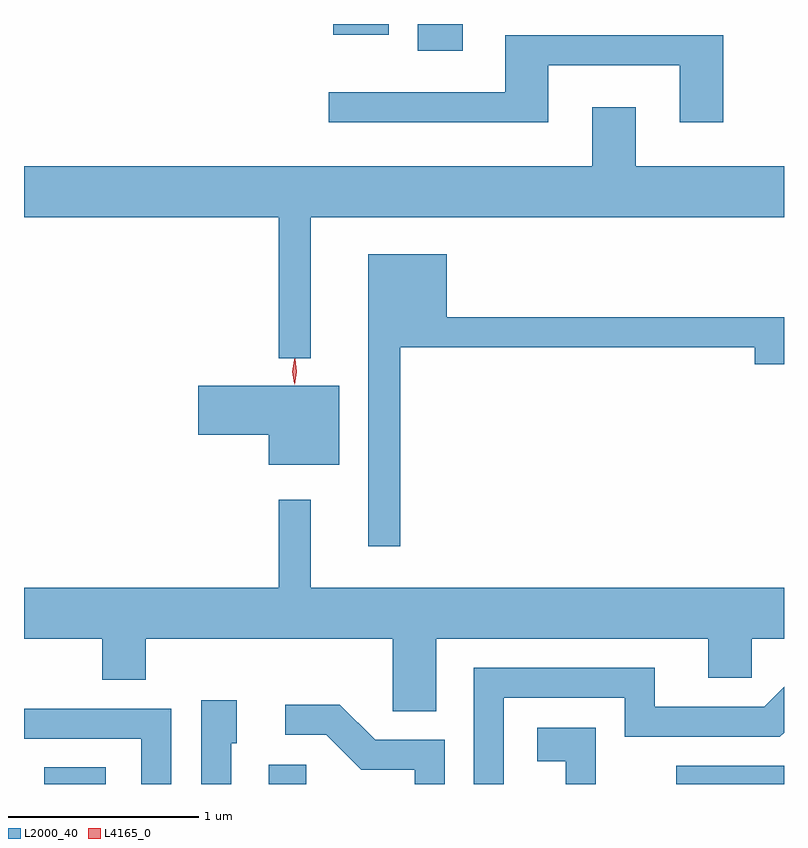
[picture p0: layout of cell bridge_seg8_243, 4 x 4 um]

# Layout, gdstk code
import gdstk
lib = gdstk.Library(unit=1e-6, precision=1e-09)
def R(c, l, rs):  # rectangles x0, y0, x1, y1
    for r in rs: c.add(gdstk.rectangle(r[:2], r[2:], *l))
def P(c, l, *ps):  # polygons
    for p in ps: c.add(gdstk.Polygon(p, *l))
L2000_40 = (2000, 40)
L4165_0 = (4165, 0)

bridge_seg8_243 = lib.new_cell('bridge_seg8_243')
R(bridge_seg8_243, L2000_40, [(1101.376,1822.332,1101.699,1822.419), (1102.556,1822.332,1102.754,1822.434), (1104.701,1822.332,1105.269,1822.429), (1103.341,1826.191,1103.578,1826.332), (1102.896,1826.276,1103.189,1826.332)])
P(bridge_seg8_243, L2000_40, [(1104.029,1826.116),(1104.721,1826.116),(1104.721,1825.816),(1104.949,1825.816),(1104.949,1826.274),(1103.801,1826.274),(1103.801,1825.974),(1102.873,1825.974),(1102.873,1825.816),(1104.029,1825.816)],
  [(1102.779,1825.316),(1105.269,1825.316),(1105.269,1825.584),(1104.489,1825.584),(1104.489,1825.894),(1104.261,1825.894),(1104.261,1825.584),(1101.269,1825.584),(1101.269,1825.316),(1102.611,1825.316),(1102.611,1824.573),(1102.779,1824.573)],
  [(1103.249,1824.631),(1105.116,1824.631),(1105.116,1824.541),(1105.269,1824.541),(1105.269,1824.789),(1103.494,1824.789),(1103.494,1825.119),(1103.081,1825.119),(1103.081,1823.583),(1103.249,1823.583)],
  [(1102.929,1824.429),(1102.186,1824.429),(1102.186,1824.171),(1102.556,1824.171),(1102.556,1824.011),(1102.929,1824.011)],
  [(1103.439,1823.096),(1104.871,1823.096),(1104.871,1822.891),(1105.099,1822.891),(1105.099,1823.096),(1105.269,1823.096),(1105.269,1823.364),(1102.779,1823.364),(1102.779,1823.828),(1102.611,1823.828),(1102.611,1823.364),(1101.269,1823.364),(1101.269,1823.096),(1101.681,1823.096),(1101.681,1822.881),(1101.909,1822.881),(1101.909,1823.096),(1103.211,1823.096),(1103.211,1822.716),(1103.439,1822.716)],
  [(1103.794,1822.786),(1104.431,1822.786),(1104.431,1822.581),(1105.247,1822.581),(1105.269,1822.603),(1105.269,1822.844),(1105.164,1822.739),(1104.589,1822.739),(1104.589,1822.944),(1103.636,1822.944),(1103.636,1822.332),(1103.794,1822.332)],
  [(1102.359,1822.546),(1102.389,1822.546),(1102.389,1822.774),(1102.201,1822.774),(1102.201,1822.332),(1102.359,1822.332)],
  [(1103.484,1822.564),(1103.117,1822.564),(1102.932,1822.749),(1102.643,1822.749),(1102.643,1822.591),(1102.859,1822.591),(1103.044,1822.406),(1103.326,1822.406),(1103.326,1822.332),(1103.484,1822.332)],
  [(1102.044,1822.729),(1101.269,1822.729),(1101.269,1822.571),(1101.886,1822.571),(1101.886,1822.332),(1102.044,1822.332)],
  [(1104.279,1822.629),(1103.971,1822.629),(1103.971,1822.451),(1104.121,1822.451),(1104.121,1822.332),(1104.279,1822.332)])
P(bridge_seg8_243, L4165_0, [(1102.693,1824.434),(1102.684,1824.502),(1102.694,1824.57),(1102.695,1824.57),(1102.696,1824.57),(1102.704,1824.502),(1102.694,1824.434),(1102.694,1824.434)],
  [(1102.691,1824.44),(1102.681,1824.503),(1102.691,1824.566),(1102.692,1824.567),(1102.692,1824.566),(1102.702,1824.503),(1102.692,1824.44),(1102.692,1824.44)])

lib.write_gds('bridge_seg8_243.gds')
